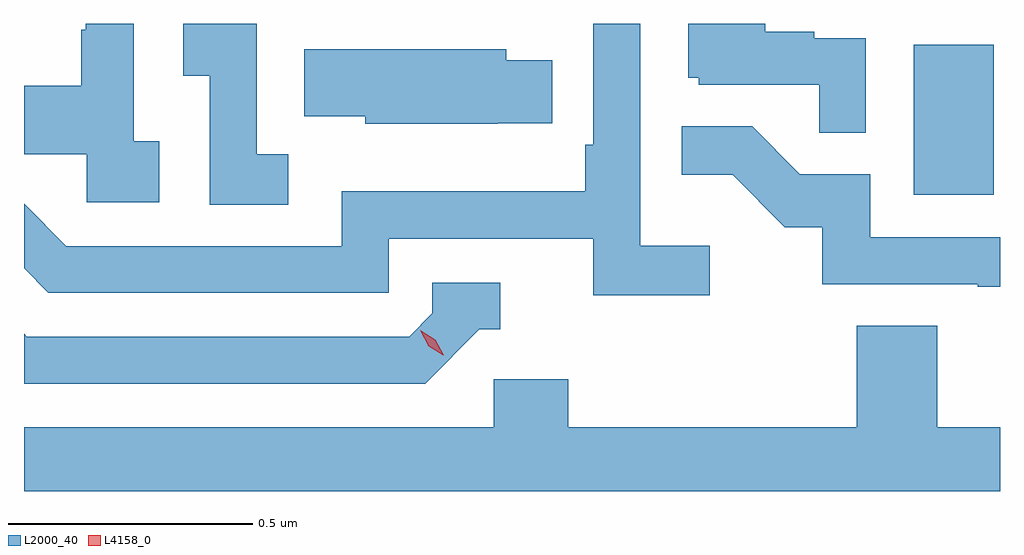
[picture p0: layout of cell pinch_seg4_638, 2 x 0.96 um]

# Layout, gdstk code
import gdstk
lib = gdstk.Library(unit=1e-6, precision=1e-09)
def R(c, l, rs):  # rectangles x0, y0, x1, y1
    for r in rs: c.add(gdstk.rectangle(r[:2], r[2:], *l))
def P(c, l, *ps):  # polygons
    for p in ps: c.add(gdstk.Polygon(p, *l))
L2000_40 = (2000, 40)
L4158_0 = (4158, 0)

pinch_seg4_638 = lib.new_cell('pinch_seg4_638')
R(pinch_seg4_638, L2000_40, [(1046.48,749.508,1046.644,749.815)])
P(pinch_seg4_638, L2000_40, [(1046.382,749.829),(1046.276,749.829),(1046.276,749.842),(1046.176,749.842),(1046.176,749.859),(1046.018,749.859),(1046.018,749.748),(1046.04,749.748),(1046.04,749.733),(1046.287,749.733),(1046.287,749.635),(1046.382,749.635)],
  [(1044.934,749.618),(1044.882,749.618),(1044.882,749.859),(1044.784,749.859),(1044.784,749.846),(1044.774,749.846),(1044.774,749.731),(1044.657,749.731),(1044.657,749.591),(1044.786,749.591),(1044.786,749.493),(1044.934,749.493)],
  [(1046.062,749.404),(1045.92,749.404),(1045.92,749.859),(1045.824,749.859),(1045.824,749.611),(1045.807,749.611),(1045.807,749.515),(1045.308,749.515),(1045.308,749.403),(1044.744,749.403),(1044.657,749.49),(1044.657,749.357),(1044.707,749.307),(1045.404,749.307),(1045.404,749.418),(1045.823,749.418),(1045.823,749.302),(1046.062,749.302)],
  [(1045.198,749.591),(1045.134,749.591),(1045.134,749.859),(1044.983,749.859),(1044.983,749.752),(1045.038,749.752),(1045.038,749.488),(1045.198,749.488)],
  [(1045.628,749.655),(1045.739,749.655),(1045.739,749.784),(1045.645,749.784),(1045.645,749.806),(1045.231,749.806),(1045.231,749.669),(1045.356,749.669),(1045.356,749.654),(1045.628,749.654)],
  [(1046.657,749.421),(1046.391,749.421),(1046.391,749.55),(1046.247,749.55),(1046.149,749.648),(1046.005,749.648),(1046.005,749.549),(1046.109,749.549),(1046.216,749.442),(1046.293,749.442),(1046.293,749.325),(1046.611,749.325),(1046.611,749.32),(1046.657,749.32)],
  [(1045.59,749.232),(1045.633,749.232),(1045.633,749.328),(1045.494,749.328),(1045.494,749.265),(1045.446,749.217),(1044.663,749.217),(1044.657,749.223),(1044.657,749.121),(1045.479,749.121)],
  [(1046.657,749.032),(1046.528,749.032),(1046.528,749.24),(1046.363,749.24),(1046.363,749.032),(1045.772,749.032),(1045.772,749.13),(1045.62,749.13),(1045.62,749.032),(1044.657,749.032),(1044.657,748.9),(1046.657,748.9)])
P(pinch_seg4_638, L4158_0, [(1045.516,749.179),(1045.486,749.198),(1045.469,749.23),(1045.469,749.23),(1045.469,749.23),(1045.5,749.211),(1045.517,749.179),(1045.517,749.179)])

lib.write_gds('pinch_seg4_638.gds')
